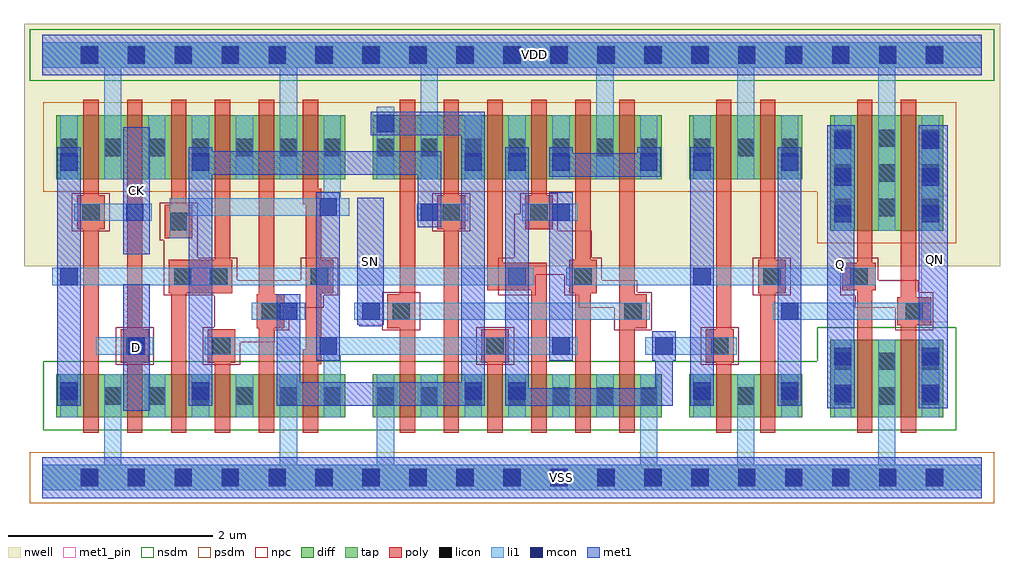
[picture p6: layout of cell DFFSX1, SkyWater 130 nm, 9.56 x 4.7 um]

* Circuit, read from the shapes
.subckt DFFSX1 CK D Q QN SN VDD VSS
XM1 VSS CK n1 VSS sky130_fd_pr__nfet_01v8 w=0.425 l=0.15
XM2 n2 D VSS VSS sky130_fd_pr__nfet_01v8 w=0.425 l=0.15
XM3 n3 n1 n2 VSS sky130_fd_pr__nfet_01v8 w=0.425 l=0.15
XM4 n4 n5 n3 VSS sky130_fd_pr__nfet_01v8 w=0.425 l=0.15
XM5 VSS n6 n4 VSS sky130_fd_pr__nfet_01v8 w=0.425 l=0.15
XM6 n5 n1 VSS VSS sky130_fd_pr__nfet_01v8 w=0.425 l=0.15
XM7 n7 SN VSS VSS sky130_fd_pr__nfet_01v8 w=0.425 l=0.15
XM8 n6 n3 n7 VSS sky130_fd_pr__nfet_01v8 w=0.425 l=0.15
XM9 n8 n5 n6 VSS sky130_fd_pr__nfet_01v8 w=0.425 l=0.15
XM10 n9 n1 n8 VSS sky130_fd_pr__nfet_01v8 w=0.425 l=0.15
XM11 n10 n11 n9 VSS sky130_fd_pr__nfet_01v8 w=0.425 l=0.15
XM12 VSS SN n10 VSS sky130_fd_pr__nfet_01v8 w=0.425 l=0.15
XM13 VSS n8 n11 VSS sky130_fd_pr__nfet_01v8 w=0.425 l=0.15
XM14 n12 n11 VSS VSS sky130_fd_pr__nfet_01v8 w=0.425 l=0.15
XM15 VSS n11 Q VSS sky130_fd_pr__nfet_01v8 w=0.76 l=0.15
XM16 QN n12 VSS VSS sky130_fd_pr__nfet_01v8 w=0.76 l=0.15
XM17 VDD CK n1 VDD sky130_fd_pr__pfet_01v8 w=0.625 l=0.15
XM18 n13 D VDD VDD sky130_fd_pr__pfet_01v8 w=0.625 l=0.15
XM19 n3 n5 n13 VDD sky130_fd_pr__pfet_01v8 w=0.625 l=0.15
XM20 n14 n1 n3 VDD sky130_fd_pr__pfet_01v8 w=0.625 l=0.15
XM21 VDD n6 n14 VDD sky130_fd_pr__pfet_01v8 w=0.625 l=0.15
XM22 n5 n1 VDD VDD sky130_fd_pr__pfet_01v8 w=0.625 l=0.15
XM23 VDD SN n6 VDD sky130_fd_pr__pfet_01v8 w=0.625 l=0.15
XM24 n6 n3 VDD VDD sky130_fd_pr__pfet_01v8 w=0.625 l=0.15
XM25 n8 n1 n6 VDD sky130_fd_pr__pfet_01v8 w=0.625 l=0.15
XM26 n15 n5 n8 VDD sky130_fd_pr__pfet_01v8 w=0.625 l=0.15
XM27 VDD n11 n15 VDD sky130_fd_pr__pfet_01v8 w=0.625 l=0.15
XM28 n15 SN VDD VDD sky130_fd_pr__pfet_01v8 w=0.625 l=0.15
XM29 VDD n8 n11 VDD sky130_fd_pr__pfet_01v8 w=0.625 l=0.15
XM30 n12 n11 VDD VDD sky130_fd_pr__pfet_01v8 w=0.625 l=0.15
XM31 VDD n11 Q VDD sky130_fd_pr__pfet_01v8 w=1.13 l=0.15
XM32 QN n12 VDD VDD sky130_fd_pr__pfet_01v8 w=1.13 l=0.15
.ends

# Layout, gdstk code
import gdstk
lib = gdstk.Library(unit=1e-6, precision=1e-09)
def R(c, l, rs):  # rectangles x0, y0, x1, y1
    for r in rs: c.add(gdstk.rectangle(r[:2], r[2:], *l))
def A(c, l, x, y, w, h, nx, ny, dx, dy):  # array of equal rectangles
    R(c, l, [(x+i*dx, y+j*dy, x+i*dx+w, y+j*dy+h) for i in range(nx) for j in range(ny)])
nwell = (64, 20)
diff = (65, 20)
tap = (65, 44)
poly = (66, 20)
licon = (66, 44)
li1 = (67, 20)
mcon = (67, 44)
met1_pin = (68, 16)
met1 = (68, 20)
nsdm = (93, 44)
psdm = (94, 20)
npc = (95, 20)

dffsx1 = lib.new_cell('DFFSX1')
R(dffsx1, nwell, [(-0.18,2.07,9.38,4.445)])
R(dffsx1, diff, [(0.135,0.59,2.965,1.015), (3.235,0.59,6.065,1.015), (6.335,0.59,7.445,1.015), (7.715,0.59,8.825,1.35), (7.715,2.42,8.825,3.55), (0.135,2.925,2.965,3.55), (3.235,2.925,6.065,3.55), (6.335,2.925,7.445,3.55)])
R(dffsx1, tap, [(0,-0.125,9.2,0.125), (0,4.015,9.2,4.265)])
R(dffsx1, poly, [(0.4,0.44,0.55,2.435), (0.83,0.44,0.98,1.125), (1.26,0.44,1.41,1.805), (1.69,0.44,1.84,1.125), (2.12,0.44,2.27,1.465), (2.55,0.44,2.7,1.11), (3.5,0.44,3.65,1.465), (3.93,0.44,4.08,2.435), (4.36,0.44,4.51,1.125), (4.79,0.44,4.94,1.835), (5.22,0.44,5.37,1.805), (5.65,0.44,5.8,1.465), (6.6,0.44,6.75,1.125), (7.03,0.44,7.18,1.805), (7.98,0.44,8.13,1.835), (8.41,0.44,8.56,1.495), (2.55,1.11,2.73,1.26), (0.77,1.125,1.04,1.455), (1.62,1.125,1.89,1.455), (4.3,1.125,4.57,1.455), (6.5,1.125,6.77,1.455), (2.58,1.26,2.73,1.805), (0.83,1.455,0.98,3.7), (6.6,1.455,6.75,3.7), (2.1,1.465,2.37,1.795), (3.38,1.465,3.65,1.795), (5.65,1.465,5.92,1.795), (8.375,1.495,8.705,1.765), (8.41,1.765,8.56,3.7), (2.12,1.795,2.27,3.7), (3.5,1.795,3.65,3.7), (5.65,1.795,5.8,3.7), (1.24,1.805,1.86,2.135), (2.58,1.805,2.85,2.135), (5.16,1.805,5.43,2.135), (7.01,1.805,7.28,2.135), (4.36,1.835,4.94,2.105), (7.835,1.835,8.165,2.105), (4.36,2.105,4.51,3.7), (7.98,2.105,8.13,3.7), (1.69,2.135,1.84,3.7), (2.58,2.135,2.73,2.68), (5.22,2.135,5.37,3.7), (7.03,2.135,7.18,3.7), (1.2,2.345,1.47,2.675), (0.34,2.435,0.61,2.765), (3.87,2.435,4.14,2.765), (4.73,2.435,5,2.765), (1.26,2.675,1.41,3.7), (2.55,2.68,2.73,2.83), (0.4,2.765,0.55,3.7), (3.93,2.765,4.08,3.7), (4.79,2.765,4.94,3.7), (2.55,2.83,2.7,3.7)])
A(dffsx1, licon, 0.375, -0.085, 0.17, 0.17, 19, 2, 0.46, 4.14)
A(dffsx1, licon, 0.175, 0.715, 0.17, 0.17, 7, 2, 0.43, 2.435)
A(dffsx1, licon, 3.275, 0.715, 0.17, 0.17, 7, 2, 0.43, 2.435)
A(dffsx1, licon, 6.375, 0.715, 0.17, 0.17, 3, 2, 0.43, 2.435)
A(dffsx1, licon, 7.755, 0.715, 0.17, 0.17, 3, 2, 0.43, 0.34)
A(dffsx1, licon, 7.755, 2.56, 0.17, 0.17, 3, 3, 0.43, 0.34)
R(dffsx1, licon, [(0.82,1.205,0.99,1.375), (1.67,1.205,1.84,1.375), (4.35,1.205,4.52,1.375), (6.55,1.205,6.72,1.375), (2.15,1.545,2.32,1.715), (3.43,1.545,3.6,1.715), (5.7,1.545,5.87,1.715), (8.455,1.545,8.625,1.715), (1.29,1.885,1.46,2.055), (1.64,1.885,1.81,2.055), (2.63,1.885,2.8,2.055), (4.565,1.885,4.735,2.055), (5.21,1.885,5.38,2.055), (7.06,1.885,7.23,2.055), (7.915,1.885,8.085,2.055), (1.25,2.425,1.42,2.595), (0.39,2.515,0.56,2.685), (3.92,2.515,4.09,2.685), (4.78,2.515,4.95,2.685)])
A(dffsx1, li1, 1.035, 0.59, 0.17, 0.425, 3, 1, 0.43, 0)
A(dffsx1, li1, 3.705, 0.59, 0.17, 0.425, 5, 1, 0.43, 0)
A(dffsx1, li1, 1.035, 2.925, 0.17, 0.625, 3, 1, 0.43, 0)
A(dffsx1, li1, 4.135, 2.925, 0.17, 0.625, 3, 1, 0.43, 0)
R(dffsx1, li1, [(0,-0.125,9.2,0.125), (0.605,0.125,0.775,1.015), (2.325,0.125,2.495,1.015), (3.275,0.125,3.445,1.015), (5.855,0.125,6.025,1.015), (6.805,0.125,6.975,1.015), (8.185,0.125,8.355,1.35), (0.175,0.59,0.345,1.015), (2.755,0.59,2.925,1.205), (6.375,0.59,6.545,1.015), (7.235,0.59,7.405,1.015), (7.755,0.59,7.925,1.35), (8.615,0.59,8.785,1.35), (0.525,1.205,1.085,1.375), (1.59,1.205,5.245,1.375), (5.905,1.205,6.8,1.375), (2.05,1.545,2.575,1.715), (3.055,1.545,5.95,1.715), (7.155,1.545,8.705,1.715), (0.095,1.885,4.815,2.055), (5.13,1.885,8.165,2.055), (1.25,2.345,1.42,2.565), (7.755,2.42,7.925,3.55), (8.185,2.42,8.355,4.015), (8.615,2.42,8.785,3.55), (0.31,2.515,1.07,2.685), (3.665,2.515,4.17,2.685), (4.7,2.515,5.245,2.685), (1.25,2.565,3.005,2.735), (2.755,2.735,2.925,3.55), (0.175,2.925,0.345,3.55), (0.605,2.925,0.775,4.015), (2.325,2.925,2.495,4.015), (3.275,2.925,3.445,3.635), (3.705,2.925,3.875,4.015), (5.425,2.925,5.595,4.015), (5.855,2.925,6.025,3.55), (6.375,2.925,6.545,3.55), (6.805,2.925,6.975,4.015), (7.235,2.925,7.405,3.55), (0,4.015,9.2,4.265)])
A(dffsx1, mcon, 0.375, -0.085, 0.17, 0.17, 19, 2, 0.46, 4.14)
A(dffsx1, mcon, 0.175, 0.765, 0.17, 0.17, 1, 3, 0, 1.12)
A(dffsx1, mcon, 6.375, 0.765, 0.17, 0.17, 1, 3, 0, 1.12)
A(dffsx1, mcon, 7.755, 2.5, 0.17, 0.17, 1, 3, 0, 0.36)
A(dffsx1, mcon, 8.615, 2.5, 0.17, 0.17, 1, 3, 0, 0.36)
A(dffsx1, mcon, 4.135, 3.005, 0.17, 0.17, 3, 1, 0.43, 0)
R(dffsx1, mcon, [(7.755,0.74,7.925,0.91), (8.615,0.74,8.785,0.91), (1.465,0.765,1.635,0.935), (4.135,0.765,4.305,0.935), (4.565,0.765,4.735,0.935), (7.235,0.765,7.405,0.935), (7.755,1.1,7.925,1.27), (8.615,1.1,8.785,1.27), (0.835,1.205,1.005,1.375), (2.715,1.205,2.885,1.375), (4.995,1.205,5.165,1.375), (6.005,1.205,6.175,1.375), (2.325,1.545,2.495,1.715), (3.135,1.545,3.305,1.715), (7.235,1.545,7.405,1.715), (0.82,2.515,0.99,2.685), (3.705,2.515,3.875,2.685), (4.995,2.515,5.165,2.685), (2.715,2.565,2.885,2.735), (1.465,3.005,1.635,3.175), (5.855,3.005,6.025,3.175), (7.235,3.005,7.405,3.175), (3.275,3.385,3.445,3.555)])
R(dffsx1, met1_pin, [(0.79,0.655,1.05,1.895), (7.69,1.465,7.95,2.705), (3.085,1.5,3.345,2.74), (8.61,1.52,8.87,2.76), (0.79,2.19,1.05,3.43)])
R(dffsx1, met1, [(0,-0.2,9.2,0.2), (0.79,0.655,1.05,1.895), (7.69,0.68,7.955,1.33), (8.585,0.68,8.87,3.45), (0.145,0.705,0.375,3.235), (1.435,0.705,1.665,2.965), (2.295,0.705,4.335,0.935), (4.535,0.705,6.175,0.875), (6.345,0.705,6.575,3.235), (7.205,0.705,7.435,3.235), (4.535,0.875,4.765,3.235), (6.005,0.875,6.175,1.145), (2.295,0.935,2.525,1.795), (4.105,0.935,4.335,3.355), (2.685,1.145,2.915,2.795), (4.965,1.145,5.195,2.795), (5.975,1.145,6.205,1.435), (7.69,1.33,7.95,2.44), (3.105,1.485,3.335,1.5), (3.085,1.5,3.345,2.74), (0.79,2.19,1.05,3.43), (7.69,2.44,7.955,3.45), (3.675,2.455,3.905,2.965), (4.965,2.945,6.055,3.175), (1.435,2.965,3.905,3.195), (4.965,3.175,5.195,3.235), (5.825,3.175,6.055,3.235), (1.435,3.195,1.665,3.235), (3.215,3.355,4.335,3.585), (0,3.94,9.2,4.34)])
R(dffsx1, nsdm, [(0.01,0.465,8.95,1.14), (7.59,1.14,8.95,1.475), (-0.125,3.89,9.325,4.39)])
R(dffsx1, psdm, [(-0.125,-0.25,9.325,0.25), (7.59,2.295,8.95,2.8), (0.01,2.8,8.95,3.675)])
R(dffsx1, npc, [(0.72,1.105,1.09,1.475), (1.57,1.105,1.94,1.325), (4.25,1.105,4.62,1.475), (6.45,1.105,6.82,1.475), (1.57,1.325,2.275,1.445), (1.57,1.445,2.42,1.475), (3.33,1.445,3.7,1.815), (5.6,1.445,5.97,1.665), (8.355,1.445,8.725,1.665), (1.685,1.475,2.42,1.665), (1.685,1.665,2.755,1.785), (5.255,1.665,5.97,1.785), (7.96,1.665,8.725,1.785), (1.19,1.785,2.9,1.935), (4.465,1.785,4.835,1.985), (5.11,1.785,5.97,1.815), (6.96,1.785,7.33,2.155), (7.815,1.785,8.725,1.815), (5.11,1.815,5.825,1.935), (7.815,1.815,8.58,1.935), (1.19,1.935,1.91,2.155), (2.53,1.935,2.9,2.155), (5.11,1.935,5.48,1.985), (7.815,1.935,8.185,2.155), (4.465,1.985,5.48,2.155), (1.19,2.155,1.52,2.325), (4.62,2.155,5.38,2.42), (1.15,2.325,1.52,2.695), (0.29,2.415,0.66,2.785), (3.82,2.415,4.19,2.785), (4.62,2.42,5.05,2.585), (4.68,2.585,5.05,2.785)])
dffsx1.add(gdstk.Label('VSS', (5.085,0.005), layer=68, texttype=5))
dffsx1.add(gdstk.Label('VDD', (4.825,4.145), layer=68, texttype=5))
dffsx1.add(gdstk.Label('SN', (3.215,2.12), layer=68, texttype=5))
dffsx1.add(gdstk.Label('D', (0.92,1.275), layer=68, texttype=5))
dffsx1.add(gdstk.Label('QN', (8.74,2.14), layer=68, texttype=5))
dffsx1.add(gdstk.Label('CK', (0.92,2.81), layer=68, texttype=5))
dffsx1.add(gdstk.Label('Q', (7.82,2.085), layer=68, texttype=5))

lib.write_gds('DFFSX1.gds')
